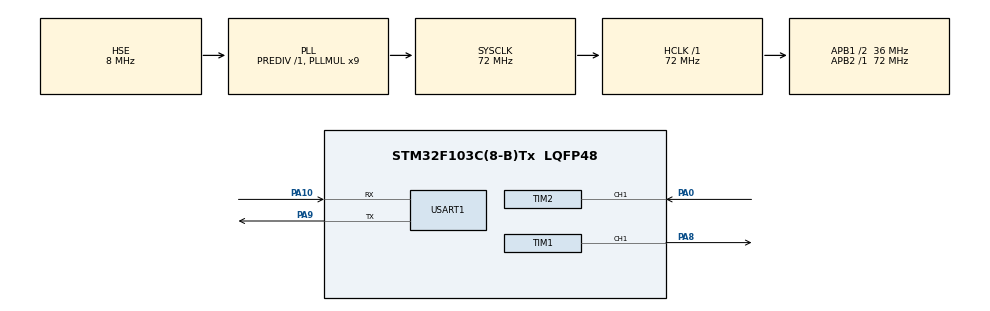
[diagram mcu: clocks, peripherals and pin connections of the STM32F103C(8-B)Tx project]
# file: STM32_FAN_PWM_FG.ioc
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Mcu.Family=STM32F1
Mcu.Name=STM32F103C(8-B)Tx
Mcu.Package=LQFP48
NVIC.PriorityGroup=NVIC_PRIORITYGROUP_4
NVIC.TIM2_IRQn=true\:0\:0\:false\:false\:true\:true\:true
PA0-WKUP.Signal=S_TIM2_CH1_ETR
PA10.Mode=Asynchronous
PA10.Signal=USART1_RX
PA13.Mode=Serial_Wire
PA13.Signal=SYS_JTMS-SWDIO
PA14.Mode=Serial_Wire
PA14.Signal=SYS_JTCK-SWCLK
PA8.Signal=S_TIM1_CH1
PA9.Mode=Asynchronous
PA9.Signal=USART1_TX
PC14-OSC32_IN.Mode=LSE-External-Oscillator
PC14-OSC32_IN.Signal=RCC_OSC32_IN
PC15-OSC32_OUT.Mode=LSE-External-Oscillator
PC15-OSC32_OUT.Signal=RCC_OSC32_OUT
PD0-OSC_IN.Mode=HSE-External-Oscillator
PD0-OSC_IN.Signal=RCC_OSC_IN
PD1-OSC_OUT.Mode=HSE-External-Oscillator
PD1-OSC_OUT.Signal=RCC_OSC_OUT
ProjectManager.HeapSize=0x200
ProjectManager.StackSize=0x400
ProjectManager.TargetToolchain=STM32CubeIDE
RCC.AHBFreq_Value=72000000
RCC.APB1CLKDivider=RCC_HCLK_DIV2
RCC.APB1Freq_Value=36000000
RCC.APB1TimFreq_Value=72000000
RCC.APB2Freq_Value=72000000
RCC.APB2TimFreq_Value=72000000
RCC.HCLKFreq_Value=72000000
RCC.PLLMUL=RCC_PLL_MUL9
RCC.PLLSourceVirtual=RCC_PLLSOURCE_HSE
RCC.SYSCLKFreq_VALUE=72000000
RCC.SYSCLKSource=RCC_SYSCLKSOURCE_PLLCLK
RCC.USBFreq_Value=72000000
SH.S_TIM1_CH1.0=TIM1_CH1,PWM Generation1 CH1
SH.S_TIM2_CH1_ETR.0=TIM2_CH1,Input_Capture1_from_TI1
TIM1.Channel-PWM\ Generation1\ CH1=TIM_CHANNEL_1
TIM1.Period=1000-1
TIM1.Prescaler=72-1
TIM2.Channel-Input_Capture1_from_TI1=TIM_CHANNEL_1
TIM2.ICFilter_CH1=0x0F
TIM2.Prescaler=72-1
USART1.VirtualMode=VM_ASYNC
board=custom

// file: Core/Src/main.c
/* USER CODE BEGIN Header */
/**
  ******************************************************************************
  * @file           : main.c
  * @brief          : Main program body
  ******************************************************************************
  * @attention
  *
  * <h2><center>&copy; Copyright (c) 2025 STMicroelectronics.
  * All rights reserved.</center></h2>
  *
  * This software component is licensed by ST under BSD 3-Clause license,
  * the "License"; You may not use this file except in compliance with the
  * License. You may obtain a copy of the License at:
  *                        opensource.org/licenses/BSD-3-Clause
  *
  ******************************************************************************
  */
/* USER CODE END Header */
#include "main.h"
#include "tim.h"
#include "usart.h"
#include "gpio.h"

/* USER CODE BEGIN Includes */
#include <stdio.h>
/* USER CODE END Includes */

/* USER CODE BEGIN PV */
// 全局变量
volatile uint32_t fg_pulse_count = 0;
volatile uint32_t last_capture = 0;
volatile uint32_t period_accumulate = 0;
volatile uint8_t capture_ready = 0;

/* 函数声明 - 解决构建错误的关�? */
void Set_Fan_Speed(uint8_t speed_percent);
void Start_Fan_PWM(void);
uint32_t Calculate_RPM(void);
/* USER CODE END PV */

void SystemClock_Config(void);

/* USER CODE BEGIN 0 */
// 串口重定�?
#ifdef __GNUC__
#define PUTCHAR_PROTOTYPE int __io_putchar(int ch)
#else
#define PUTCHAR_PROTOTYPE int fputc(int ch, FILE *f)
#endif

PUTCHAR_PROTOTYPE
{
    HAL_UART_Transmit(&huart1, (uint8_t *)&ch, 1, HAL_MAX_DELAY);
    return ch;
}

/* USER CODE END 0 */

int main(void)
{

  /* MCU Configuration--------------------------------------------------------*/

  /* Reset of all peripherals, Initializes the Flash interface and the Systick. */
  HAL_Init();

  /* Configure the system clock */
  SystemClock_Config();

  /* Initialize all configured peripherals */
  MX_GPIO_Init();
  MX_TIM1_Init();
  MX_TIM2_Init();
  MX_USART1_UART_Init();
  /* USER CODE BEGIN 2 */
  // 启动PWM和输入捕�?
  Start_Fan_PWM();
  HAL_TIM_IC_Start_IT(&htim2, TIM_CHANNEL_1);

  printf("Fan Control System Started\r\n");

  uint32_t last_display_time = 0;
  /* USER CODE END 2 */

  /* Infinite loop */
  while (1)
  {
      uint32_t current_time = HAL_GetTick();

      // 每500ms更新一次显示
      if (current_time - last_display_time >= 500)
      {
          uint32_t rpm = Calculate_RPM();
          printf("Fan RPM: %lu\r\n", rpm);

          last_display_time = current_time;
      }

  /*    // 示例：速度渐变
      static uint8_t speed = 0;
      static uint8_t direction = 1;

      if (current_time % 100 == 0)
      {
          Set_Fan_Speed(speed);

          if (direction) {
              speed++;
              if (speed >= 80) direction = 0;
          } else {
              speed--;
              if (speed <= 30) direction = 1;
          }
      }
*/
      HAL_Delay(10);
  }
}

void SystemClock_Config(void)
{
  RCC_OscInitTypeDef RCC_OscInitStruct = {0};
  RCC_ClkInitTypeDef RCC_ClkInitStruct = {0};

  /** Initializes the RCC Oscillators according to the specified parameters
  * in the RCC_OscInitTypeDef structure.
  */
  RCC_OscInitStruct.OscillatorType = RCC_OSCILLATORTYPE_HSE;
  RCC_OscInitStruct.HSEState = RCC_HSE_ON;
  RCC_OscInitStruct.HSEPredivValue = RCC_HSE_PREDIV_DIV1;
  RCC_OscInitStruct.HSIState = RCC_HSI_ON;
  RCC_OscInitStruct.PLL.PLLState = RCC_PLL_ON;
  RCC_OscInitStruct.PLL.PLLSource = RCC_PLLSOURCE_HSE;
  RCC_OscInitStruct.PLL.PLLMUL = RCC_PLL_MUL9;
  if (HAL_RCC_OscConfig(&RCC_OscInitStruct) != HAL_OK)
  {
    Error_Handler();
  }
  /** Initializes the CPU, AHB and APB buses clocks
  */
  RCC_ClkInitStruct.ClockType = RCC_CLOCKTYPE_HCLK|RCC_CLOCKTYPE_SYSCLK
                              |RCC_CLOCKTYPE_PCLK1|RCC_CLOCKTYPE_PCLK2;
  RCC_ClkInitStruct.SYSCLKSource = RCC_SYSCLKSOURCE_PLLCLK;
  RCC_ClkInitStruct.AHBCLKDivider = RCC_SYSCLK_DIV1;
  RCC_ClkInitStruct.APB1CLKDivider = RCC_HCLK_DIV2;
  RCC_ClkInitStruct.APB2CLKDivider = RCC_HCLK_DIV1;

  if (HAL_RCC_ClockConfig(&RCC_ClkInitStruct, FLASH_LATENCY_2) != HAL_OK)
  {
    Error_Handler();
  }
}

/* USER CODE BEGIN 4 */

// 输入捕获中断回调
void HAL_TIM_IC_CaptureCallback(TIM_HandleTypeDef *htim)
{
    if (htim->Instance == TIM2)
    {
        uint32_t current_capture = HAL_TIM_ReadCapturedValue(htim, TIM_CHANNEL_1);

        if (last_capture != 0)
        {
            uint32_t period = (current_capture > last_capture) ?
                            (current_capture - last_capture) :
                            (0xFFFF - last_capture + current_capture);

            if (period > 100) // 去抖动滤�?
            {
                period_accumulate = period;
                capture_ready = 1;
                fg_pulse_count++;
            }
        }
        last_capture = current_capture;
    }
}

/// 设置风扇速度 (0-100%)
void Set_Fan_Speed(uint8_t speed_percent)
{
    if (speed_percent > 100) speed_percent = 100;

    uint32_t pulse = (speed_percent * (htim1.Init.Period + 1)) / 100;
    __HAL_TIM_SET_COMPARE(&htim1, TIM_CHANNEL_1, pulse);
}

// PWM启动函数
void Start_Fan_PWM(void)
{
    HAL_TIM_PWM_Start(&htim1, TIM_CHANNEL_1);
    Set_Fan_Speed(50); // 初始50%速度
}

// 计算转�?? (RPM)
uint32_t Calculate_RPM(void)
{
    if (!capture_ready) return 0;

    // 定时器计数频率为1MHz，period单位为微�?
    float period_us = (float)period_accumulate;
    float frequency = 1000000.0f / period_us; // Hz

    // 假设风扇每转产生2个脉冲（常见规格�?
    uint32_t rpm = (uint32_t)((frequency * 60.0f) / 2.0f);

    capture_ready = 0;
    return rpm;
}

/* USER CODE END 4 */

void Error_Handler(void)
{
  __disable_irq();
  while (1)
  {
  }
}

/************************ (C) COPYRIGHT STMicroelectronics *****END OF FILE****/
